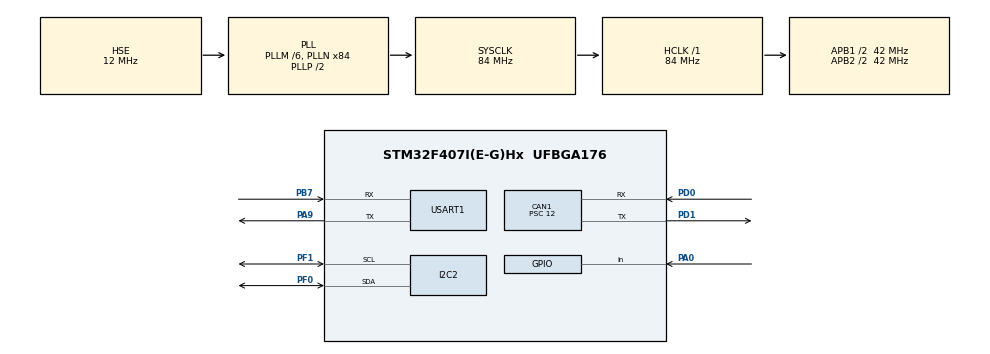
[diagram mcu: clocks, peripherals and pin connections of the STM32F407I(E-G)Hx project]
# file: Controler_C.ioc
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CAN1.BS1=CAN_BS1_8TQ
CAN1.BS2=CAN_BS2_5TQ
CAN1.CalculateBaudRate=250000
CAN1.CalculateTimeBit=4000
CAN1.CalculateTimeQuantum=285.7142857142857
CAN1.Prescaler=12
I2C2.I2C_Mode=I2C_Fast
Mcu.Family=STM32F4
Mcu.Name=STM32F407I(E-G)Hx
Mcu.Package=UFBGA176
NVIC.CAN1_RX0_IRQn=true\:0\:0\:false\:false\:true\:true\:true\:true
NVIC.PriorityGroup=NVIC_PRIORITYGROUP_4
PA0-WKUP.Signal=GPIO_Input
PA13.Mode=Serial_Wire
PA13.Signal=SYS_JTMS-SWDIO
PA14.Mode=Serial_Wire
PA14.Signal=SYS_JTCK-SWCLK
PA9.Mode=Asynchronous
PA9.Signal=USART1_TX
PB7.Mode=Asynchronous
PB7.Signal=USART1_RX
PD0.Mode=CAN_Activate
PD0.Signal=CAN1_RX
PD1.Mode=CAN_Activate
PD1.Signal=CAN1_TX
PF0.Mode=I2C
PF0.Signal=I2C2_SDA
PF1.Mode=I2C
PF1.Signal=I2C2_SCL
PH0-OSC_IN.Mode=HSE-External-Oscillator
PH0-OSC_IN.Signal=RCC_OSC_IN
PH1-OSC_OUT.Mode=HSE-External-Oscillator
PH1-OSC_OUT.Signal=RCC_OSC_OUT
ProjectManager.HeapSize=0x1600
ProjectManager.StackSize=0x800
ProjectManager.TargetToolchain=STM32CubeIDE
RCC.48MHZClocksFreq_Value=42000000
RCC.AHBFreq_Value=84000000
RCC.APB1CLKDivider=RCC_HCLK_DIV2
RCC.APB1Freq_Value=42000000
RCC.APB1TimFreq_Value=84000000
RCC.APB2CLKDivider=RCC_HCLK_DIV2
RCC.APB2Freq_Value=42000000
RCC.APB2TimFreq_Value=84000000
RCC.CortexFreq_Value=84000000
RCC.HCLKFreq_Value=84000000
RCC.HSE_VALUE=12000000
RCC.HSI_VALUE=16000000
RCC.LSE_VALUE=32768
RCC.PLLM=6
RCC.PLLN=84
RCC.PLLSourceVirtual=RCC_PLLSOURCE_HSE
RCC.SYSCLKFreq_VALUE=84000000
RCC.SYSCLKSource=RCC_SYSCLKSOURCE_PLLCLK
RCC.VCOOutputFreq_Value=168000000
USART1.VirtualMode=VM_ASYNC
board=custom

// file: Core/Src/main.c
/* USER CODE BEGIN Header */
/**
 ******************************************************************************
 * @file           : main.c
 * @brief          : Main program body
 ******************************************************************************
 * @attention
 *
 * Copyright (c) 2023 STMicroelectronics.
 * All rights reserved.
 *
 * This software is licensed under terms that can be found in the LICENSE file
 * in the root directory of this software component.
 * If no LICENSE file comes with this software, it is provided AS-IS.
 *
 ******************************************************************************
 */
/* USER CODE END Header */
#include "main.h"

/* USER CODE BEGIN Includes */
#include "usermode.hpp"
#include "jyme02_can_control.hpp"
/* USER CODE END Includes */

/* USER CODE BEGIN PD */
const int FPS_HAL = 1000 / FPS;
/* USER CODE END PD */

CAN_HandleTypeDef hcan1;

I2C_HandleTypeDef hi2c2;

UART_HandleTypeDef huart1;

void SystemClock_Config(void);
static void MX_GPIO_Init(void);
static void MX_CAN1_Init(void);
static void MX_USART1_UART_Init(void);
static void MX_I2C2_Init(void);

int main(void)
{
  /* USER CODE BEGIN 1 */
    Awake();
  /* USER CODE END 1 */

  /* MCU Configuration--------------------------------------------------------*/

  /* Reset of all peripherals, Initializes the Flash interface and the Systick. */
  HAL_Init();

  /* Configure the system clock */
  SystemClock_Config();

  /* Initialize all configured peripherals */
  MX_GPIO_Init();
  MX_CAN1_Init();
  MX_USART1_UART_Init();
  MX_I2C2_Init();
  /* USER CODE BEGIN 2 */
    Start();
  /* USER CODE END 2 */

  /* Infinite loop */
  /* USER CODE BEGIN WHILE */
    while (1) {
        HAL_Delay(FPS_HAL);
        Update();
    /* USER CODE END WHILE */

    }
}

void SystemClock_Config(void)
{
  RCC_OscInitTypeDef RCC_OscInitStruct = {0};
  RCC_ClkInitTypeDef RCC_ClkInitStruct = {0};

  /** Configure the main internal regulator output voltage
  */
  __HAL_RCC_PWR_CLK_ENABLE();
  __HAL_PWR_VOLTAGESCALING_CONFIG(PWR_REGULATOR_VOLTAGE_SCALE1);

  /** Initializes the RCC Oscillators according to the specified parameters
  * in the RCC_OscInitTypeDef structure.
  */
  RCC_OscInitStruct.OscillatorType = RCC_OSCILLATORTYPE_HSE;
  RCC_OscInitStruct.HSEState = RCC_HSE_ON;
  RCC_OscInitStruct.PLL.PLLState = RCC_PLL_ON;
  RCC_OscInitStruct.PLL.PLLSource = RCC_PLLSOURCE_HSE;
  RCC_OscInitStruct.PLL.PLLM = 6;
  RCC_OscInitStruct.PLL.PLLN = 84;
  RCC_OscInitStruct.PLL.PLLP = RCC_PLLP_DIV2;
  RCC_OscInitStruct.PLL.PLLQ = 4;
  if (HAL_RCC_OscConfig(&RCC_OscInitStruct) != HAL_OK)
  {
    Error_Handler();
  }

  /** Initializes the CPU, AHB and APB buses clocks
  */
  RCC_ClkInitStruct.ClockType = RCC_CLOCKTYPE_HCLK|RCC_CLOCKTYPE_SYSCLK
                              |RCC_CLOCKTYPE_PCLK1|RCC_CLOCKTYPE_PCLK2;
  RCC_ClkInitStruct.SYSCLKSource = RCC_SYSCLKSOURCE_PLLCLK;
  RCC_ClkInitStruct.AHBCLKDivider = RCC_SYSCLK_DIV1;
  RCC_ClkInitStruct.APB1CLKDivider = RCC_HCLK_DIV2;
  RCC_ClkInitStruct.APB2CLKDivider = RCC_HCLK_DIV2;

  if (HAL_RCC_ClockConfig(&RCC_ClkInitStruct, FLASH_LATENCY_2) != HAL_OK)
  {
    Error_Handler();
  }
}

static void MX_CAN1_Init(void)
{

  hcan1.Instance = CAN1;
  hcan1.Init.Prescaler = 12;
  hcan1.Init.Mode = CAN_MODE_NORMAL;
  hcan1.Init.SyncJumpWidth = CAN_SJW_1TQ;
  hcan1.Init.TimeSeg1 = CAN_BS1_8TQ;
  hcan1.Init.TimeSeg2 = CAN_BS2_5TQ;
  hcan1.Init.TimeTriggeredMode = DISABLE;
  hcan1.Init.AutoBusOff = DISABLE;
  hcan1.Init.AutoWakeUp = DISABLE;
  hcan1.Init.AutoRetransmission = DISABLE;
  hcan1.Init.ReceiveFifoLocked = DISABLE;
  hcan1.Init.TransmitFifoPriority = DISABLE;
  if (HAL_CAN_Init(&hcan1) != HAL_OK)
  {
    Error_Handler();
  }

}

static void MX_I2C2_Init(void)
{

  hi2c2.Instance = I2C2;
  hi2c2.Init.ClockSpeed = 400000;
  hi2c2.Init.DutyCycle = I2C_DUTYCYCLE_2;
  hi2c2.Init.OwnAddress1 = 0;
  hi2c2.Init.AddressingMode = I2C_ADDRESSINGMODE_7BIT;
  hi2c2.Init.DualAddressMode = I2C_DUALADDRESS_DISABLE;
  hi2c2.Init.OwnAddress2 = 0;
  hi2c2.Init.GeneralCallMode = I2C_GENERALCALL_DISABLE;
  hi2c2.Init.NoStretchMode = I2C_NOSTRETCH_DISABLE;
  if (HAL_I2C_Init(&hi2c2) != HAL_OK)
  {
    Error_Handler();
  }

}

static void MX_USART1_UART_Init(void)
{

  huart1.Instance = USART1;
  huart1.Init.BaudRate = 115200;
  huart1.Init.WordLength = UART_WORDLENGTH_8B;
  huart1.Init.StopBits = UART_STOPBITS_1;
  huart1.Init.Parity = UART_PARITY_NONE;
  huart1.Init.Mode = UART_MODE_TX_RX;
  huart1.Init.HwFlowCtl = UART_HWCONTROL_NONE;
  huart1.Init.OverSampling = UART_OVERSAMPLING_16;
  if (HAL_UART_Init(&huart1) != HAL_OK)
  {
    Error_Handler();
  }

}

static void MX_GPIO_Init(void)
{
  GPIO_InitTypeDef GPIO_InitStruct = {0};

  /* GPIO Ports Clock Enable */
  __HAL_RCC_GPIOA_CLK_ENABLE();
  __HAL_RCC_GPIOB_CLK_ENABLE();
  __HAL_RCC_GPIOD_CLK_ENABLE();
  __HAL_RCC_GPIOF_CLK_ENABLE();
  __HAL_RCC_GPIOH_CLK_ENABLE();

  /*Configure GPIO pin : PA0 */
  GPIO_InitStruct.Pin = GPIO_PIN_0;
  GPIO_InitStruct.Mode = GPIO_MODE_INPUT;
  GPIO_InitStruct.Pull = GPIO_NOPULL;
  HAL_GPIO_Init(GPIOA, &GPIO_InitStruct);

}

/* USER CODE BEGIN 4 */
__weak void Update()
{
}
__weak void Awake()
{
}
__weak void Start()
{
}
void HAL_CAN_RxFifo0MsgPendingCallback(CAN_HandleTypeDef *hcan)
{
    /* Prevent unused argument(s) compilation warning */
    float angle;
    uint16_t addr;
    if (hcan->Instance == CAN1) {
        angle = Jyme02_Can_Read_AngleMode(&addr);
        Renew_Me02_Data(addr, angle);
    }
    /* NOTE : This function Should not be modified, when the callback is needed,
              the HAL_CAN_TxMailbox0AbortCallback could be implemented in the
              user file
     */
}
/* USER CODE END 4 */

void Error_Handler(void)
{
    __disable_irq();
    while (1) {
    }
}
